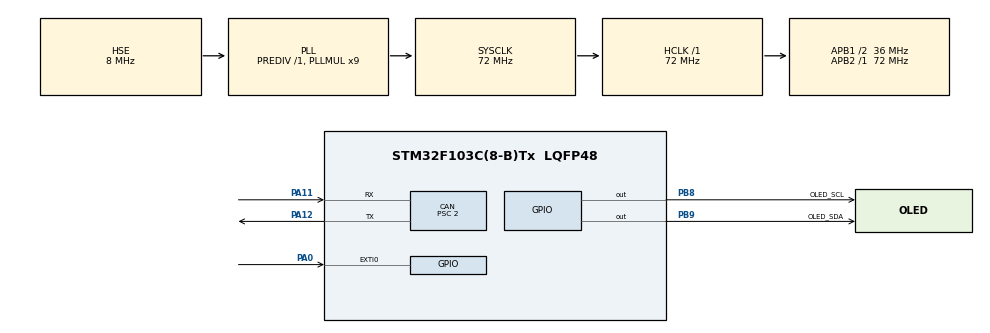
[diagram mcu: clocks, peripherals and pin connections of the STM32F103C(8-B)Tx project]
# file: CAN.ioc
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CAN.ABOM=ENABLE
CAN.BS1=CAN_BS1_14TQ
CAN.BS2=CAN_BS2_3TQ
CAN.CalculateBaudRate=1000000
CAN.CalculateTimeBit=1000
CAN.CalculateTimeQuantum=55.55555555555556
CAN.Mode=CAN_MODE_NORMAL
CAN.NART=ENABLE
CAN.Prescaler=2
Mcu.Family=STM32F1
Mcu.Name=STM32F103C(8-B)Tx
Mcu.Package=LQFP48
NVIC.EXTI0_IRQn=true\:0\:0\:false\:false\:true\:true\:true\:true
NVIC.PriorityGroup=NVIC_PRIORITYGROUP_4
NVIC.TIM2_IRQn=true\:1\:0\:true\:false\:true\:true\:true\:true
PA0-WKUP.GPIO_ModeDefaultEXTI=GPIO_MODE_IT_FALLING
PA0-WKUP.GPIO_PuPd=GPIO_PULLUP
PA0-WKUP.Signal=GPXTI0
PA11.Mode=CAN_Activate
PA11.Signal=CAN_RX
PA12.Mode=CAN_Activate
PA12.Signal=CAN_TX
PA13.Mode=Serial_Wire
PA13.Signal=SYS_JTMS-SWDIO
PA14.Mode=Serial_Wire
PA14.Signal=SYS_JTCK-SWCLK
PB8.GPIO_Label=OLED_SCL
PB8.GPIO_ModeDefaultOutputPP=GPIO_MODE_OUTPUT_OD
PB8.GPIO_PuPd=GPIO_NOPULL
PB8.GPIO_Speed=GPIO_SPEED_FREQ_HIGH
PB8.PinState=GPIO_PIN_SET
PB8.Signal=GPIO_Output
PB9.GPIO_Label=OLED_SDA
PB9.GPIO_ModeDefaultOutputPP=GPIO_MODE_OUTPUT_OD
PB9.GPIO_PuPd=GPIO_NOPULL
PB9.GPIO_Speed=GPIO_SPEED_FREQ_HIGH
PB9.PinState=GPIO_PIN_SET
PB9.Signal=GPIO_Output
PD0-OSC_IN.Mode=HSE-External-Oscillator
PD0-OSC_IN.Signal=RCC_OSC_IN
PD1-OSC_OUT.Mode=HSE-External-Oscillator
PD1-OSC_OUT.Signal=RCC_OSC_OUT
ProjectManager.HeapSize=0x200
ProjectManager.StackSize=0x400
ProjectManager.TargetToolchain=MDK-ARM V5.32
RCC.AHBFreq_Value=72000000
RCC.APB1CLKDivider=RCC_HCLK_DIV2
RCC.APB1Freq_Value=36000000
RCC.APB1TimFreq_Value=72000000
RCC.APB2Freq_Value=72000000
RCC.APB2TimFreq_Value=72000000
RCC.HCLKFreq_Value=72000000
RCC.PLLMUL=RCC_PLL_MUL9
RCC.PLLSourceVirtual=RCC_PLLSOURCE_HSE
RCC.SYSCLKFreq_VALUE=72000000
RCC.SYSCLKSource=RCC_SYSCLKSOURCE_PLLCLK
RCC.USBFreq_Value=72000000
TIM2.AutoReloadPreload=TIM_AUTORELOAD_PRELOAD_ENABLE
TIM2.Period=999
TIM2.Prescaler=71
VP_TIM2_VS_ClockSourceINT.Mode=Internal
board=custom

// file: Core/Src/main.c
/* USER CODE BEGIN Header */
/**
  ******************************************************************************
  * @file           : main.c
  * @brief          : Main program body
  ******************************************************************************
  * @attention
  *
  * Copyright (c) 2026 STMicroelectronics.
  * All rights reserved.
  *
  * This software is licensed under terms that can be found in the LICENSE file
  * in the root directory of this software component.
  * If no LICENSE file comes with this software, it is provided AS-IS.
  *
  ******************************************************************************
  */
/* USER CODE END Header */
#include "main.h"
#include "can.h"
#include "tim.h"
#include "gpio.h"

/* USER CODE BEGIN Includes */
#include "oled.h"
/* USER CODE END Includes */

void SystemClock_Config(void);

/* USER CODE BEGIN 0 */
/**此部分由AI生成 START**/

// 解析出来的变量
volatile uint16_t val_uint16;
volatile int16_t  val_int16_1;
volatile int16_t  val_int16_2;
volatile uint8_t  val_uint8;
volatile float    angle;    //映射后的角度 0~360°
volatile uint8_t can_rx_flag = 0;  //接收标记

 //CAN接收FIFO0中断回调
void HAL_CAN_RxFifo0MsgPendingCallback(CAN_HandleTypeDef *hcan)
{
  CAN_RxHeaderTypeDef RxHeader;
  uint8_t rx_data[8];  //8字节DLC=8
  if(hcan->Instance == CAN1)
  {
    //读取收到的一帧CAN报文
    if(HAL_CAN_GetRxMessage(hcan, CAN_RX_FIFO0, &RxHeader, rx_data) == HAL_OK)
    {
      //只处理标准帧，DLC=8
      if(RxHeader.IDE == CAN_ID_STD && RxHeader.DLC == 8)
      {
       /* DATA[0], DATA[1]：uint16_t，大端 */
        val_uint16 = ((uint16_t)rx_data[0] << 8)
                | (uint16_t)rx_data[1];

        /* DATA[2], DATA[3]：int16_t，大端 */
        uint16_t raw1 = ((uint16_t)rx_data[2] << 8)
                    | (uint16_t)rx_data[3];

        val_int16_1 = (int16_t)raw1;

        /* DATA[4], DATA[5]：int16_t，大端 */
        uint16_t raw2 = ((uint16_t)rx_data[4] << 8)
                    | (uint16_t)rx_data[5];

        val_int16_2 = (int16_t)raw2;

        /* DATA[6]：uint8_t */
        val_uint8 = rx_data[6];

          if (val_uint16 > 8191)
        {
            val_uint16 = 8191;
        }

        // 数值映射 0~8191 →0~360°
        angle = (float)val_uint16 * 360.0f / 8191.0f;

        can_rx_flag = 1; //置接收标记，交给主循环OLED刷新
      }
    }
  }
}
/**此部分由AI生成 END**/

/* USER CODE END 0 */

int main(void)
{

  /* MCU Configuration--------------------------------------------------------*/

  /* Reset of all peripherals, Initializes the Flash interface and the Systick. */
  HAL_Init();

  /* Configure the system clock */
  SystemClock_Config();

  /* Initialize all configured peripherals */
  MX_GPIO_Init();
  MX_CAN_Init();
  MX_TIM2_Init();
  /* USER CODE BEGIN 2 */

  OLED_Init();
  OLED_Clear();
  HAL_TIM_Base_Start_IT(&htim2);
  OLED_ShowString(1, 1, "CAN Ready");

  /* USER CODE END 2 */

  /* Infinite loop */
  while (1)
  {

    /* USER CODE BEGIN 3 */

      /**此部分由AI生成 START**/

   // 收到CAN报文标记
    if(can_rx_flag == 1)
    {
      can_rx_flag = 0;

      OLED_Clear();
//      //第1行
//      OLED_ShowString(1,1,"CAN RX DATA");
      //第2行 角度
      OLED_ShowString(2,1,"Angle:");
      OLED_ShowNum(2,8,(uint16_t)angle,3);
      OLED_ShowString(2,12,"deg");
      //第3行 int16_1
      OLED_ShowString(3,1,"i16_1:");
      OLED_ShowSignedNum(3,7,val_int16_1,5);
      //第4行 int16_2
      OLED_ShowString(4,1,"i16_2:");
      OLED_ShowSignedNum(4,7,val_int16_2,5);
      //第5行 uint8
      OLED_ShowString(5,1,"u8:");
      OLED_ShowNum(5,4,val_uint8,3);
    }
      /**此部分由AI生成 END**/
}

  /* USER CODE END 3 */
}

void SystemClock_Config(void)
{
  RCC_OscInitTypeDef RCC_OscInitStruct = {0};
  RCC_ClkInitTypeDef RCC_ClkInitStruct = {0};

  /** Initializes the RCC Oscillators according to the specified parameters
  * in the RCC_OscInitTypeDef structure.
  */
  RCC_OscInitStruct.OscillatorType = RCC_OSCILLATORTYPE_HSE;
  RCC_OscInitStruct.HSEState = RCC_HSE_ON;
  RCC_OscInitStruct.HSEPredivValue = RCC_HSE_PREDIV_DIV1;
  RCC_OscInitStruct.HSIState = RCC_HSI_ON;
  RCC_OscInitStruct.PLL.PLLState = RCC_PLL_ON;
  RCC_OscInitStruct.PLL.PLLSource = RCC_PLLSOURCE_HSE;
  RCC_OscInitStruct.PLL.PLLMUL = RCC_PLL_MUL9;
  if (HAL_RCC_OscConfig(&RCC_OscInitStruct) != HAL_OK)
  {
    Error_Handler();
  }

  /** Initializes the CPU, AHB and APB buses clocks
  */
  RCC_ClkInitStruct.ClockType = RCC_CLOCKTYPE_HCLK|RCC_CLOCKTYPE_SYSCLK
                              |RCC_CLOCKTYPE_PCLK1|RCC_CLOCKTYPE_PCLK2;
  RCC_ClkInitStruct.SYSCLKSource = RCC_SYSCLKSOURCE_PLLCLK;
  RCC_ClkInitStruct.AHBCLKDivider = RCC_SYSCLK_DIV1;
  RCC_ClkInitStruct.APB1CLKDivider = RCC_HCLK_DIV2;
  RCC_ClkInitStruct.APB2CLKDivider = RCC_HCLK_DIV1;

  if (HAL_RCC_ClockConfig(&RCC_ClkInitStruct, FLASH_LATENCY_2) != HAL_OK)
  {
    Error_Handler();
  }
}

void Error_Handler(void)
{
  __disable_irq();
  while (1)
  {
  }
}
